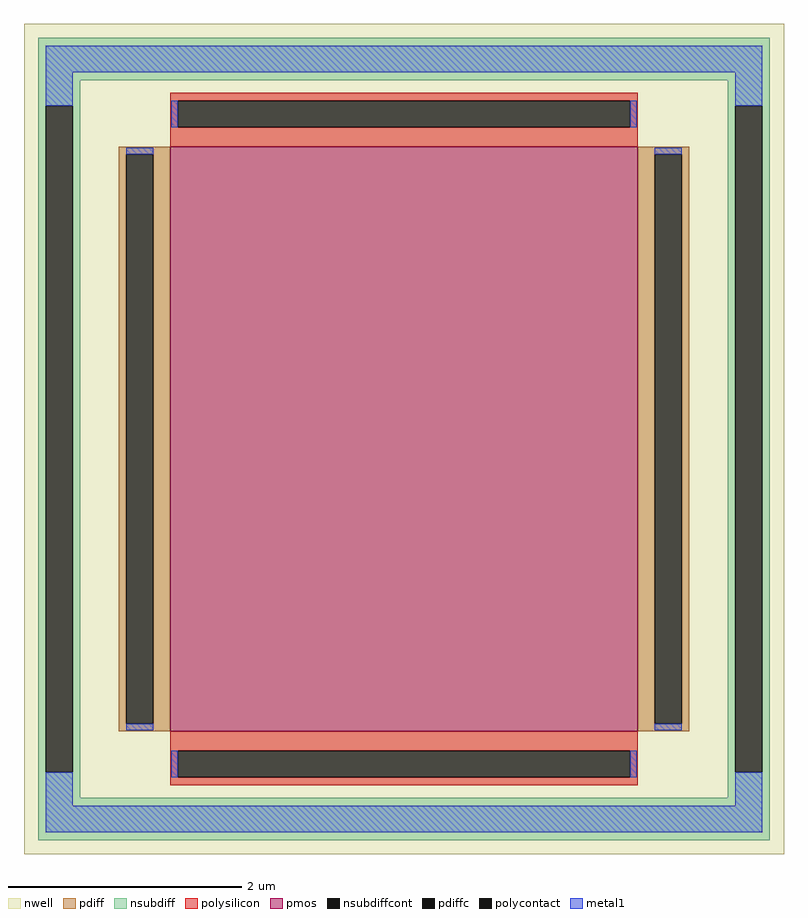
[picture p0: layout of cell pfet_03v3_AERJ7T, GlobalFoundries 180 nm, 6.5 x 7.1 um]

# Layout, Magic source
magic
tech gf180mcuD
magscale 1 10
<< nwell >>
rect -650 -710 650 710
<< pmos >>
rect -400 -500 400 500
<< pdiff >>
rect -488 487 -400 500
rect -488 -487 -475 487
rect -429 -487 -400 487
rect -488 -500 -400 -487
rect 400 487 488 500
rect 400 -487 429 487
rect 475 -487 488 487
rect 400 -500 488 -487
<< pdiffc >>
rect -475 -487 -429 487
rect 429 -487 475 487
<< nsubdiff >>
rect -626 614 626 686
rect -626 570 -554 614
rect -626 -570 -613 570
rect -567 -570 -554 570
rect 554 570 626 614
rect -626 -614 -554 -570
rect 554 -570 567 570
rect 613 -570 626 570
rect 554 -614 626 -570
rect -626 -686 626 -614
<< nsubdiffcont >>
rect -613 -570 -567 570
rect 567 -570 613 570
<< polysilicon >>
rect -400 579 400 592
rect -400 533 -387 579
rect 387 533 400 579
rect -400 500 400 533
rect -400 -533 400 -500
rect -400 -579 -387 -533
rect 387 -579 400 -533
rect -400 -592 400 -579
<< polycontact >>
rect -387 533 387 579
rect -387 -579 387 -533
<< metal1 >>
rect -613 627 613 673
rect -613 570 -567 627
rect -398 533 -387 579
rect 387 533 398 579
rect 567 570 613 627
rect -475 487 -429 498
rect -475 -498 -429 -487
rect 429 487 475 498
rect 429 -498 475 -487
rect -613 -627 -567 -570
rect -398 -579 -387 -533
rect 387 -579 398 -533
rect 567 -627 613 -570
rect -613 -673 613 -627
<< properties >>
string FIXED_BBOX -590 -650 590 650
string gencell pfet_03v3
string library gf180mcu
string parameters w 5 l 4 m 1 nf 1 diffcov 100 polycov 100 guard 1 glc 1 grc 1 gtc 0 gbc 0 tbcov 100 rlcov 100 topc 1 botc 1 poverlap 0 doverlap 1 lmin 0.28 wmin 0.22 class mosfet full_metal 1 compatible {pfet_03v3 pfet_05v0 pfet_06v0}
<< end >>
